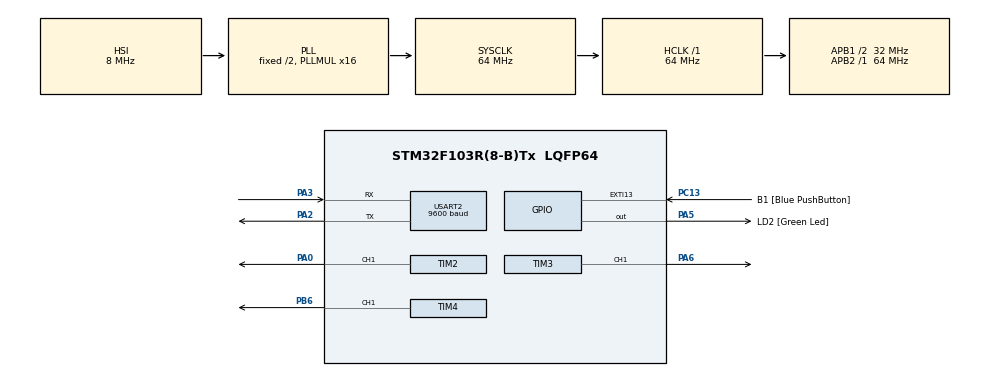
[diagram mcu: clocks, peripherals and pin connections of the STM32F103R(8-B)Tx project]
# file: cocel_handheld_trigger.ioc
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Mcu.Family=STM32F1
Mcu.Name=STM32F103R(8-B)Tx
Mcu.Package=LQFP64
NVIC.EXTI15_10_IRQn=true\:0\:0\:false\:false\:true\:true\:true\:true
NVIC.PriorityGroup=NVIC_PRIORITYGROUP_4
NVIC.TIM3_IRQn=true\:0\:0\:false\:false\:true\:true\:true\:true
PA0-WKUP.Signal=S_TIM2_CH1_ETR
PA13.GPIO_Label=TMS
PA13.Mode=Serial_Wire
PA13.Signal=SYS_JTMS-SWDIO
PA14.GPIO_Label=TCK
PA14.Mode=Serial_Wire
PA14.Signal=SYS_JTCK-SWCLK
PA2.GPIO_Mode=GPIO_MODE_AF_PP
PA2.GPIO_PuPd=GPIO_NOPULL
PA2.GPIO_Speed=GPIO_SPEED_FREQ_HIGH
PA2.Mode=Asynchronous
PA2.Signal=USART2_TX
PA3.GPIO_Mode=GPIO_MODE_INPUT
PA3.GPIO_PuPd=GPIO_NOPULL
PA3.GPIO_Speed=GPIO_SPEED_FREQ_LOW
PA3.Mode=Asynchronous
PA3.Signal=USART2_RX
PA5.GPIO_Label=LD2 [Green Led]
PA5.GPIO_ModeDefaultOutputPP=GPIO_MODE_OUTPUT_PP
PA5.GPIO_PuPd=GPIO_NOPULL
PA5.GPIO_Speed=GPIO_SPEED_FREQ_LOW
PA5.Signal=GPIO_Output
PA6.Signal=S_TIM3_CH1
PB3.GPIO_Label=SWO
PB3.Signal=SYS_JTDO-TRACESWO
PB6.Signal=S_TIM4_CH1
PC13-TAMPER-RTC.GPIO_Label=B1 [Blue PushButton]
PC13-TAMPER-RTC.GPIO_PuPd=GPIO_NOPULL
PC13-TAMPER-RTC.Signal=GPXTI13
PC14-OSC32_IN.Mode=LSE-External-Oscillator
PC14-OSC32_IN.Signal=RCC_OSC32_IN
PC15-OSC32_OUT.Mode=LSE-External-Oscillator
PC15-OSC32_OUT.Signal=RCC_OSC32_OUT
PD0-OSC_IN.Mode=HSE-External-Clock-Source
PD0-OSC_IN.Signal=RCC_OSC_IN
PD1-OSC_OUT.Mode=HSE-External-Clock-Source
PD1-OSC_OUT.Signal=RCC_OSC_OUT
ProjectManager.HeapSize=0x200
ProjectManager.StackSize=0x400
ProjectManager.TargetToolchain=STM32CubeIDE
RCC.AHBFreq_Value=64000000
RCC.APB1CLKDivider=RCC_HCLK_DIV2
RCC.APB1Freq_Value=32000000
RCC.APB1TimFreq_Value=64000000
RCC.APB2Freq_Value=64000000
RCC.APB2TimFreq_Value=64000000
RCC.HCLKFreq_Value=64000000
RCC.PLLMUL=RCC_PLL_MUL16
RCC.RTCClockSelection=RCC_RTCCLKSOURCE_LSE
RCC.SYSCLKFreq_VALUE=64000000
RCC.SYSCLKSource=RCC_SYSCLKSOURCE_PLLCLK
RCC.USBFreq_Value=64000000
SH.S_TIM2_CH1_ETR.0=TIM2_CH1,PWM Generation1 CH1
SH.S_TIM3_CH1.0=TIM3_CH1,PWM Generation1 CH1
SH.S_TIM4_CH1.0=TIM4_CH1,PWM Generation1 CH1
TIM2.Channel-PWM\ Generation1\ CH1=TIM_CHANNEL_1
TIM2.Period=1999
TIM2.Prescaler=639
TIM3.Channel-PWM\ Generation1\ CH1=TIM_CHANNEL_1
TIM3.Period=9999
TIM3.Prescaler=6399
TIM4.Channel-PWM\ Generation1\ CH1=TIM_CHANNEL_1
TIM4.Period=499
TIM4.Prescaler=639
USART2.BaudRate=9600
USART2.VirtualMode=VM_ASYNC
board=NUCLEO-F103RB

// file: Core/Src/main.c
/* USER CODE BEGIN Header */
/**
  ******************************************************************************
  * @file           : main.c
  * @brief          : Main program body
  ******************************************************************************
  * @attention
  *
  * Copyright (c) 2024 STMicroelectronics.
  * All rights reserved.
  *
  * This software is licensed under terms that can be found in the LICENSE file
  * in the root directory of this software component.
  * If no LICENSE file comes with this software, it is provided AS-IS.
  *
  ******************************************************************************
  */
/* USER CODE END Header */
#include "main.h"

/* USER CODE BEGIN Includes */
#include <string.h>
/* USER CODE END Includes */

TIM_HandleTypeDef htim2;
TIM_HandleTypeDef htim3;
TIM_HandleTypeDef htim4;

UART_HandleTypeDef huart2;

void SystemClock_Config(void);
static void MX_GPIO_Init(void);
static void MX_TIM2_Init(void);
static void MX_TIM3_Init(void);
static void MX_TIM4_Init(void);
static void MX_USART2_UART_Init(void);

/* USER CODE BEGIN 0 */

char tx_buffer2[] = "Message Receive\n";

unsigned char result;
int i;
int checkNum(const char *gprmcContext)
{
    if (gprmcContext == NULL)
    {
        return -1;
	}

    result = gprmcContext[1];

    for (i = 2; gprmcContext[i] != '*' && gprmcContext[i] != '\0'; i++)
    {
        result ^= gprmcContext[i];
    }

    if (gprmcContext[i] != '*')
    {
        return -1;
    }

    return result;
}

char tmp[100]="";
int ss=0;
int mm=0;
int hh=0;
char gprmcStr[7]="$GPRMC,";
char data[100]="";
int check_num=0;
char checkNumChar[2] = "";
void HAL_TIM_PeriodElapsedCallback(TIM_HandleTypeDef *htim) // Timer Interrupt
{
	if(ss<59)
	{
		ss++;
	}
	else
	{
		ss=0;
		if(mm<59)
		{
			mm++;
		}
		else
		{
			mm=0;
			if(hh<23)
			{
				hh++;
			}
			else
			{
				hh=0;
			}
		}
	}
	sprintf(data, "%s%02d%02d%02d%s", gprmcStr, hh, mm, ss, ".00,A,2237.496474,N,11356.089515,E,0.0,225.5,230520,2.3,W,A*");
	strcpy(tmp,data);

	check_num = checkNum(tmp);
	sprintf(checkNumChar, "%02X", check_num);

	HAL_UART_Transmit(&huart2, data, sizeof(data)-1, 10);
	HAL_UART_Transmit(&huart2, checkNumChar, sizeof(checkNumChar)-1, 10);

}

/* USER CODE END 0 */

int main(void)
{

  /* MCU Configuration--------------------------------------------------------*/

  /* Reset of all peripherals, Initializes the Flash interface and the Systick. */
  HAL_Init();

  /* Configure the system clock */
  SystemClock_Config();

  /* Initialize all configured peripherals */
  MX_GPIO_Init();
  MX_TIM2_Init();
  MX_TIM3_Init();
  MX_TIM4_Init();
  MX_USART2_UART_Init();
  /* USER CODE BEGIN 2 */

  /* @@@@@@@@@@@@@@@@@
	TIMER 2 - 50Hz
  @@@@@@@@@@@@@@@@@ */
  HAL_TIM_PWM_Start(&htim2, TIM_CHANNEL_1);
  HAL_TIMEx_PWMN_Start(&htim2, TIM_CHANNEL_1);
  TIM2->CCR1 = 999; // duty 50%

  /* @@@@@@@@@@@@@@@@@
  	TIMER 3 - 1Hz
  @@@@@@@@@@@@@@@@@ */
  HAL_TIM_PWM_Start(&htim3, TIM_CHANNEL_1);
  HAL_TIMEx_PWMN_Start(&htim3, TIM_CHANNEL_1);
  TIM3->CCR1 = 4999; // duty 50%

  HAL_TIM_Base_Start_IT(&htim3); // Timer Interrupt

  /* @@@@@@@@@@@@@@@@@
    TIMER 4 - 200Hz
  @@@@@@@@@@@@@@@@@ */
  HAL_TIM_PWM_Start(&htim4, TIM_CHANNEL_1);
  HAL_TIMEx_PWMN_Start(&htim4, TIM_CHANNEL_1);
  TIM4->CCR1 = 249; // duty 50%

  /* @@@@@@@@@@@@@@@@@
    	UART 2
  @@@@@@@@@@@@@@@@@ */

  /* USER CODE END 2 */

  /* Infinite loop */
  while (1)
  {

  }
}

void SystemClock_Config(void)
{
  RCC_OscInitTypeDef RCC_OscInitStruct = {0};
  RCC_ClkInitTypeDef RCC_ClkInitStruct = {0};

  /** Initializes the RCC Oscillators according to the specified parameters
  * in the RCC_OscInitTypeDef structure.
  */
  RCC_OscInitStruct.OscillatorType = RCC_OSCILLATORTYPE_HSI;
  RCC_OscInitStruct.HSIState = RCC_HSI_ON;
  RCC_OscInitStruct.HSICalibrationValue = RCC_HSICALIBRATION_DEFAULT;
  RCC_OscInitStruct.PLL.PLLState = RCC_PLL_ON;
  RCC_OscInitStruct.PLL.PLLSource = RCC_PLLSOURCE_HSI_DIV2;
  RCC_OscInitStruct.PLL.PLLMUL = RCC_PLL_MUL16;
  if (HAL_RCC_OscConfig(&RCC_OscInitStruct) != HAL_OK)
  {
    Error_Handler();
  }

  /** Initializes the CPU, AHB and APB buses clocks
  */
  RCC_ClkInitStruct.ClockType = RCC_CLOCKTYPE_HCLK|RCC_CLOCKTYPE_SYSCLK
                              |RCC_CLOCKTYPE_PCLK1|RCC_CLOCKTYPE_PCLK2;
  RCC_ClkInitStruct.SYSCLKSource = RCC_SYSCLKSOURCE_PLLCLK;
  RCC_ClkInitStruct.AHBCLKDivider = RCC_SYSCLK_DIV1;
  RCC_ClkInitStruct.APB1CLKDivider = RCC_HCLK_DIV2;
  RCC_ClkInitStruct.APB2CLKDivider = RCC_HCLK_DIV1;

  if (HAL_RCC_ClockConfig(&RCC_ClkInitStruct, FLASH_LATENCY_2) != HAL_OK)
  {
    Error_Handler();
  }
}

static void MX_TIM2_Init(void)
{

  TIM_MasterConfigTypeDef sMasterConfig = {0};
  TIM_OC_InitTypeDef sConfigOC = {0};

  htim2.Instance = TIM2;
  htim2.Init.Prescaler = 639;
  htim2.Init.CounterMode = TIM_COUNTERMODE_UP;
  htim2.Init.Period = 1999;
  htim2.Init.ClockDivision = TIM_CLOCKDIVISION_DIV1;
  htim2.Init.AutoReloadPreload = TIM_AUTORELOAD_PRELOAD_DISABLE;
  if (HAL_TIM_PWM_Init(&htim2) != HAL_OK)
  {
    Error_Handler();
  }
  sMasterConfig.MasterOutputTrigger = TIM_TRGO_RESET;
  sMasterConfig.MasterSlaveMode = TIM_MASTERSLAVEMODE_DISABLE;
  if (HAL_TIMEx_MasterConfigSynchronization(&htim2, &sMasterConfig) != HAL_OK)
  {
    Error_Handler();
  }
  sConfigOC.OCMode = TIM_OCMODE_PWM1;
  sConfigOC.Pulse = 0;
  sConfigOC.OCPolarity = TIM_OCPOLARITY_HIGH;
  sConfigOC.OCFastMode = TIM_OCFAST_DISABLE;
  if (HAL_TIM_PWM_ConfigChannel(&htim2, &sConfigOC, TIM_CHANNEL_1) != HAL_OK)
  {
    Error_Handler();
  }
  HAL_TIM_MspPostInit(&htim2);

}

static void MX_TIM3_Init(void)
{

  TIM_MasterConfigTypeDef sMasterConfig = {0};
  TIM_OC_InitTypeDef sConfigOC = {0};

  htim3.Instance = TIM3;
  htim3.Init.Prescaler = 6399;
  htim3.Init.CounterMode = TIM_COUNTERMODE_UP;
  htim3.Init.Period = 9999;
  htim3.Init.ClockDivision = TIM_CLOCKDIVISION_DIV1;
  htim3.Init.AutoReloadPreload = TIM_AUTORELOAD_PRELOAD_DISABLE;
  if (HAL_TIM_PWM_Init(&htim3) != HAL_OK)
  {
    Error_Handler();
  }
  sMasterConfig.MasterOutputTrigger = TIM_TRGO_RESET;
  sMasterConfig.MasterSlaveMode = TIM_MASTERSLAVEMODE_DISABLE;
  if (HAL_TIMEx_MasterConfigSynchronization(&htim3, &sMasterConfig) != HAL_OK)
  {
    Error_Handler();
  }
  sConfigOC.OCMode = TIM_OCMODE_PWM1;
  sConfigOC.Pulse = 0;
  sConfigOC.OCPolarity = TIM_OCPOLARITY_HIGH;
  sConfigOC.OCFastMode = TIM_OCFAST_DISABLE;
  if (HAL_TIM_PWM_ConfigChannel(&htim3, &sConfigOC, TIM_CHANNEL_1) != HAL_OK)
  {
    Error_Handler();
  }
  HAL_TIM_MspPostInit(&htim3);

}

static void MX_TIM4_Init(void)
{

  TIM_MasterConfigTypeDef sMasterConfig = {0};
  TIM_OC_InitTypeDef sConfigOC = {0};

  htim4.Instance = TIM4;
  htim4.Init.Prescaler = 639;
  htim4.Init.CounterMode = TIM_COUNTERMODE_UP;
  htim4.Init.Period = 499;
  htim4.Init.ClockDivision = TIM_CLOCKDIVISION_DIV1;
  htim4.Init.AutoReloadPreload = TIM_AUTORELOAD_PRELOAD_DISABLE;
  if (HAL_TIM_PWM_Init(&htim4) != HAL_OK)
  {
    Error_Handler();
  }
  sMasterConfig.MasterOutputTrigger = TIM_TRGO_RESET;
  sMasterConfig.MasterSlaveMode = TIM_MASTERSLAVEMODE_DISABLE;
  if (HAL_TIMEx_MasterConfigSynchronization(&htim4, &sMasterConfig) != HAL_OK)
  {
    Error_Handler();
  }
  sConfigOC.OCMode = TIM_OCMODE_PWM1;
  sConfigOC.Pulse = 0;
  sConfigOC.OCPolarity = TIM_OCPOLARITY_HIGH;
  sConfigOC.OCFastMode = TIM_OCFAST_DISABLE;
  if (HAL_TIM_PWM_ConfigChannel(&htim4, &sConfigOC, TIM_CHANNEL_1) != HAL_OK)
  {
    Error_Handler();
  }
  HAL_TIM_MspPostInit(&htim4);

}

static void MX_USART2_UART_Init(void)
{

  huart2.Instance = USART2;
  huart2.Init.BaudRate = 9600;
  huart2.Init.WordLength = UART_WORDLENGTH_8B;
  huart2.Init.StopBits = UART_STOPBITS_1;
  huart2.Init.Parity = UART_PARITY_NONE;
  huart2.Init.Mode = UART_MODE_TX_RX;
  huart2.Init.HwFlowCtl = UART_HWCONTROL_NONE;
  huart2.Init.OverSampling = UART_OVERSAMPLING_16;
  if (HAL_UART_Init(&huart2) != HAL_OK)
  {
    Error_Handler();
  }

}

static void MX_GPIO_Init(void)
{
  GPIO_InitTypeDef GPIO_InitStruct = {0};

  /* GPIO Ports Clock Enable */
  __HAL_RCC_GPIOC_CLK_ENABLE();
  __HAL_RCC_GPIOD_CLK_ENABLE();
  __HAL_RCC_GPIOA_CLK_ENABLE();
  __HAL_RCC_GPIOB_CLK_ENABLE();

  /*Configure GPIO pin Output Level */
  HAL_GPIO_WritePin(LD2_GPIO_Port, LD2_Pin, GPIO_PIN_RESET);

  /*Configure GPIO pin : B1_Pin */
  GPIO_InitStruct.Pin = B1_Pin;
  GPIO_InitStruct.Mode = GPIO_MODE_IT_RISING;
  GPIO_InitStruct.Pull = GPIO_NOPULL;
  HAL_GPIO_Init(B1_GPIO_Port, &GPIO_InitStruct);

  /*Configure GPIO pin : LD2_Pin */
  GPIO_InitStruct.Pin = LD2_Pin;
  GPIO_InitStruct.Mode = GPIO_MODE_OUTPUT_PP;
  GPIO_InitStruct.Pull = GPIO_NOPULL;
  GPIO_InitStruct.Speed = GPIO_SPEED_FREQ_LOW;
  HAL_GPIO_Init(LD2_GPIO_Port, &GPIO_InitStruct);

  /* EXTI interrupt init*/
  HAL_NVIC_SetPriority(EXTI15_10_IRQn, 0, 0);
  HAL_NVIC_EnableIRQ(EXTI15_10_IRQn);

}

void Error_Handler(void)
{
  __disable_irq();
  while (1)
  {
  }
}
